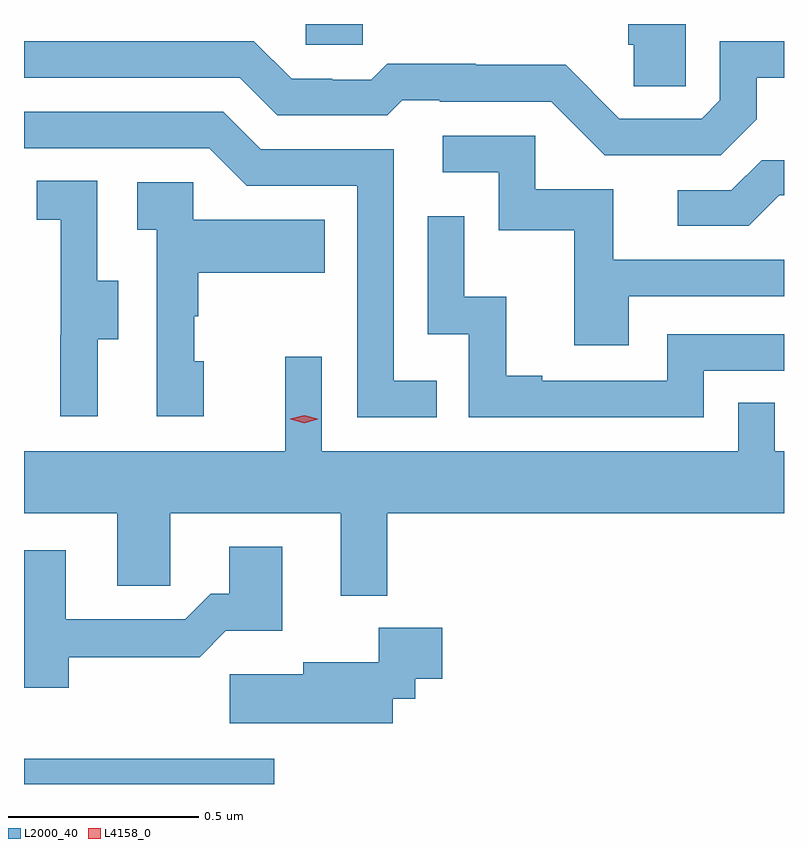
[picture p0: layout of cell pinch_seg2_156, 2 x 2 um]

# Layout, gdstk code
import gdstk
lib = gdstk.Library(unit=1e-6, precision=1e-09)
def R(c, l, rs):  # rectangles x0, y0, x1, y1
    for r in rs: c.add(gdstk.rectangle(r[:2], r[2:], *l))
def P(c, l, *ps):  # polygons
    for p in ps: c.add(gdstk.Polygon(p, *l))
L2000_40 = (2000, 40)
L4158_0 = (4158, 0)

pinch_seg2_156 = lib.new_cell('pinch_seg2_156')
R(pinch_seg2_156, L2000_40, [(1101.575,634.936,1102.234,635.002), (1102.317,636.882,1102.467,636.936)])
P(pinch_seg2_156, L2000_40, [(1103.316,636.936),(1103.165,636.936),(1103.165,636.882),(1103.179,636.882),(1103.179,636.772),(1103.316,636.772)],
  [(1103.503,636.685),(1103.503,636.795),(1103.575,636.795),(1103.575,636.891),(1103.406,636.891),(1103.406,636.735),(1103.358,636.687),(1103.142,636.687),(1103,636.829),(1102.764,636.829),(1102.764,636.832),(1102.531,636.832),(1102.489,636.789),(1102.386,636.789),(1102.386,636.792),(1102.279,636.792),(1102.18,636.891),(1101.575,636.891),(1101.575,636.795),(1102.143,636.795),(1102.242,636.696),(1102.531,636.696),(1102.57,636.735),(1102.669,636.735),(1102.669,636.732),(1102.962,636.732),(1103.103,636.591),(1103.409,636.591)],
  [(1102.661,635.997),(1102.548,635.997),(1102.548,636.606),(1102.198,636.606),(1102.099,636.705),(1101.575,636.705),(1101.575,636.609),(1102.062,636.609),(1102.161,636.51),(1102.452,636.51),(1102.452,635.901),(1102.661,635.901)],
  [(1103.167,636.219),(1103.575,636.219),(1103.575,636.315),(1103.125,636.315),(1103.125,636.501),(1102.92,636.501),(1102.92,636.642),(1102.677,636.642),(1102.677,636.546),(1102.824,636.546),(1102.824,636.393),(1103.023,636.393),(1103.023,636.09),(1103.167,636.09)],
  [(1103.563,636.486),(1103.575,636.486),(1103.575,636.578),(1103.516,636.578),(1103.436,636.498),(1103.295,636.498),(1103.295,636.405),(1103.482,636.405)],
  [(1101.769,636.106),(1101.823,636.106),(1101.823,636.261),(1101.768,636.261),(1101.768,636.524),(1101.609,636.524),(1101.609,636.421),(1101.672,636.421),(1101.672,636.117),(1101.671,636.117),(1101.671,635.904),(1101.769,635.904)],
  [(1102.048,636.048),(1102.023,636.048),(1102.023,636.167),(1102.033,636.167),(1102.033,636.281),(1102.367,636.281),(1102.367,636.421),(1102.02,636.421),(1102.02,636.519),(1101.873,636.519),(1101.873,636.395),(1101.924,636.395),(1101.924,635.904),(1102.048,635.904)],
  [(1103.364,636.024),(1103.575,636.024),(1103.575,636.12),(1103.268,636.12),(1103.268,635.997),(1102.939,635.997),(1102.939,636.01),(1102.844,636.01),(1102.844,636.218),(1102.734,636.218),(1102.734,636.43),(1102.638,636.43),(1102.638,636.12),(1102.746,636.12),(1102.746,635.901),(1103.364,635.901)],
  [(1102.531,635.648),(1103.575,635.648),(1103.575,635.812),(1103.55,635.812),(1103.55,635.939),(1103.454,635.939),(1103.454,635.812),(1102.359,635.812),(1102.359,636.061),(1102.262,636.061),(1102.262,635.812),(1101.575,635.812),(1101.575,635.648),(1101.821,635.648),(1101.821,635.458),(1101.96,635.458),(1101.96,635.648),(1102.409,635.648),(1102.409,635.432),(1102.531,635.432)],
  [(1101.693,635.27),(1102.037,635.27),(1102.106,635.339),(1102.255,635.339),(1102.255,635.56),(1102.115,635.56),(1102.115,635.437),(1102.066,635.437),(1101.999,635.37),(1101.685,635.37),(1101.685,635.551),(1101.575,635.551),(1101.575,635.189),(1101.693,635.189)],
  [(1102.546,635.16),(1102.605,635.16),(1102.605,635.213),(1102.675,635.213),(1102.675,635.347),(1102.509,635.347),(1102.509,635.256),(1102.31,635.256),(1102.31,635.225),(1102.116,635.225),(1102.116,635.096),(1102.546,635.096)])
P(pinch_seg2_156, L4158_0, [(1102.312,635.886),(1102.276,635.896),(1102.276,635.896),(1102.276,635.897),(1102.312,635.906),(1102.348,635.897),(1102.348,635.896),(1102.348,635.896)])

lib.write_gds('pinch_seg2_156.gds')
